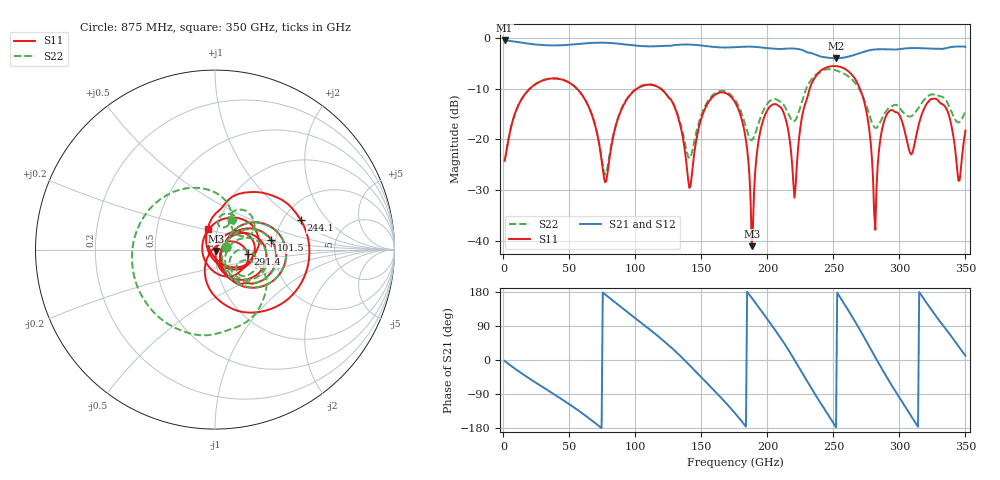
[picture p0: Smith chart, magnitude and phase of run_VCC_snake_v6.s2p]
#  Hz  S  RI  R  50
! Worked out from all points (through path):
!   400 points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, 875 MHz to 350 GHz, reference 50 ohm
!   highest |S21| = -0.53 dB at 875 MHz (marker M1); lowest = -4.0 dB at 252 GHz (marker M2)
!   lowest |S11| = -41.1 dB at 188.1 GHz (marker M3), VSWR 1.02, Z = 50.5 - j0.727 ohm
!   |S11| at or under -10 dB: 55.57 GHz to 101.3 GHz (45.72 GHz wide, 58.3 % of centre); 119 GHz to 232.1 GHz (113.1 GHz wide, 64.4 % of centre); 270 GHz to end of sweep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
!   |S22| runs from -27.0 to -6.2 dB; largest |S21 - S12| = 0.002
!   S11 on the Smith chart (normalised r, x): 875 MHz: 1.13, +0.04; 101.5 GHz: 1.89, +0.23; 244.1 GHz: 2.49, +1.10; 291.4 GHz: 1.44, -0.07; 350 GHz: 0.90, +0.21
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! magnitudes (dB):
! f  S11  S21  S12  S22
! 875 MHz  -24.2  -0.5  -0.5  -24.2
! 59.5 GHz  -11.2  -1.2  -1.2  -11.2
! 77 GHz  -28.5  -1.0  -1.0  -27.0
! 101.5 GHz  -10.0  -1.6  -1.6  -9.9
! 117.2 GHz  -9.7  -1.7  -1.7  -9.6
! 140.9 GHz  -29.6  -1.3  -1.3  -23.8
! 175.9 GHz  -12.9  -1.8  -1.8  -12.4
! 184.6 GHz  -21.9  -1.7  -1.7  -18.4
! 188.1 GHz  -41.1  -1.7  -1.7  -20.2
! 197.8 GHz  -15.5  -2.0  -2.0  -13.9
! 212.6 GHz  -15.0  -2.2  -2.2  -13.3
! 220.5 GHz  -31.5  -2.1  -2.1  -16.4
! 233.6 GHz  -9.0  -3.0  -3.0  -8.1
! 244.1 GHz  -5.9  -3.9  -3.9  -6.2
! 252 GHz  -5.6  -4.0  -4.0  -6.4
! 273.9 GHz  -13.2  -2.7  -2.7  -12.6
! 281.8 GHz  -37.8  -2.3  -2.3  -17.8
! 291.4 GHz  -14.7  -2.3  -2.3  -14.0
! 292.2 GHz  -14.5  -2.3  -2.3  -13.8
! 333.4 GHz  -13.2  -2.2  -2.1  -11.8
! 344.8 GHz  -28.2  -1.7  -1.7  -16.7
! 350 GHz  -18.3  -1.8  -1.8  -14.5
